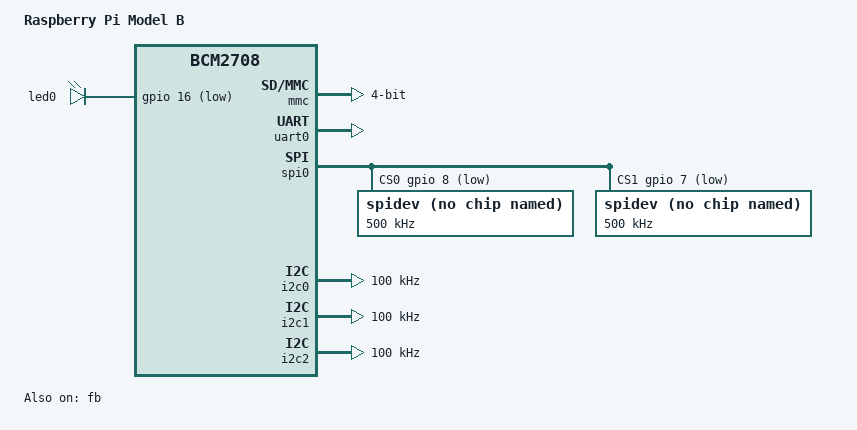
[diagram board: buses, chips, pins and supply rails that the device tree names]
/dts-v1/;

/include/ "bcm2708.dtsi"

/ {
	compatible = "brcm,bcm2708";
	model = "Raspberry Pi Model B";
};

&gpio {
	spi0_pins: spi0_pins {
		brcm,pins = <9 10 11>;
		brcm,function = <4>; /* alt0 */
	};

	spi0_cs_pins: spi0_cs_pins {
		brcm,pins = <8 7>;
		brcm,function = <1>; /* output */
	};

	i2c0_pins: i2c0 {
		brcm,pins = <0 1>;
		brcm,function = <4>;
	};

	i2c1_pins: i2c1 {
		brcm,pins = <2 3>;
		brcm,function = <4>;
	};

	i2s_pins: i2s {
		brcm,pins = <28 29 30 31>;
		brcm,function = <6>; /* alt2 */
	};
};

&mmc {
	status = "okay";
	bus-width = <4>;
};

&fb {
	status = "okay";
};

&uart0 {
	status = "okay";
};

&spi0 {
	pinctrl-names = "default";
	pinctrl-0 = <&spi0_pins &spi0_cs_pins>;
	cs-gpios = <&gpio 8 1>, <&gpio 7 1>;

	spidev@0{
		compatible = "spidev";
		reg = <0>;	/* CE0 */
		#address-cells = <1>;
		#size-cells = <0>;
		spi-max-frequency = <500000>;
	};

	spidev@1{
		compatible = "spidev";
		reg = <1>;	/* CE1 */
		#address-cells = <1>;
		#size-cells = <0>;
		spi-max-frequency = <500000>;
	};
};

&i2c0 {
	pinctrl-names = "default";
	pinctrl-0 = <&i2c0_pins>;
	clock-frequency = <100000>;
};

&i2c1 {
	pinctrl-names = "default";
	pinctrl-0 = <&i2c1_pins>;
	clock-frequency = <100000>;
};

&i2c2 {
	clock-frequency = <100000>;
};

&i2s {
	#sound-dai-cells = <0>;
	pinctrl-names = "default";
	pinctrl-0 = <&i2s_pins>;
};

&leds {
	act_led: act {
		label = "led0";
		linux,default-trigger = "mmc0";
		gpios = <&gpio 16 1>;
	};
};

/ {
	__overrides__ {
		uart0 = <&uart0>,"status";
		uart0_clkrate = <&clk_uart0>,"clock-frequency:0";
		i2s = <&i2s>,"status";
		spi = <&spi0>,"status";
		i2c0 = <&i2c0>,"status";
		i2c1 = <&i2c1>,"status";
		i2c2_iknowwhatimdoing = <&i2c2>,"status";
		i2c0_baudrate = <&i2c0>,"clock-frequency:0";
		i2c1_baudrate = <&i2c1>,"clock-frequency:0";
		i2c2_baudrate = <&i2c2>,"clock-frequency:0";
		core_freq = <&clk_core>,"clock-frequency:0";

		act_led_gpio = <&act_led>,"gpios:4";
		act_led_activelow = <&act_led>,"gpios:8";
		act_led_trigger = <&act_led>,"linux,default-trigger";

		audio = <&audio>,"status";
		watchdog = <&watchdog>,"status";
		random = <&random>,"status";
	};
};
